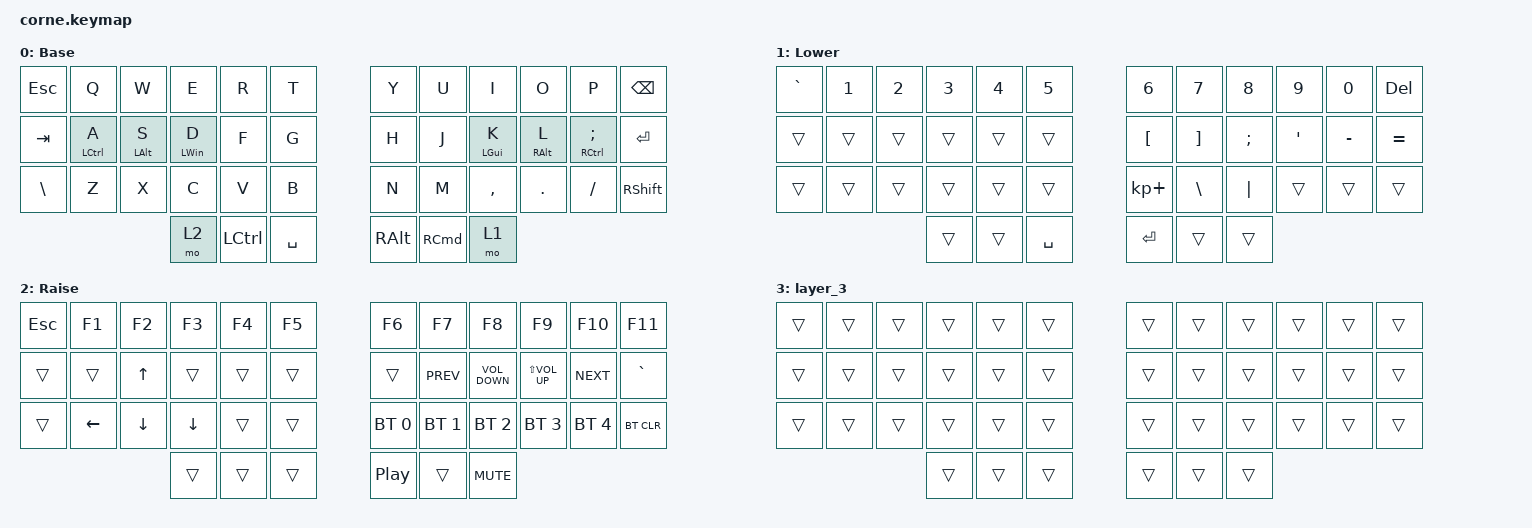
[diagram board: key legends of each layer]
/*
 * Copyright (c) 2020 The ZMK Contributors
 *
 * SPDX-License-Identifier: MIT
 */

#include <behaviors.dtsi>
#include <dt-bindings/zmk/bt.h>
#include <dt-bindings/zmk/keys.h>

/ {
    behaviors {
        HMR: HMR {
            compatible = "zmk,behavior-hold-tap";
            label = "HMR";
            bindings = <&kp>, <&kp>;

            #binding-cells = <2>;
            tapping-term-ms = <280>;
            quick-tap-ms = <175>;
            flavor = "tap-preferred";
            hold-trigger-key-positions = <0 1 2 3 4 5 12 13 14 15 16 17 24 25 26 27 28 29 36 37 38 39 40 41>;
            hold-trigger-on-release;
        };

        HML: HML {
            compatible = "zmk,behavior-hold-tap";
            label = "HML";
            bindings = <&kp>, <&kp>;

            #binding-cells = <2>;
            tapping-term-ms = <280>;
            quick-tap-ms = <175>;
            flavor = "tap-preferred";
            hold-trigger-on-release;
            hold-trigger-key-positions = <36 37 38 6 7 8 9 10 11 18 19 20 21 22 23 30 31 32 33 34 35 39 40 41>;
        };
    };

    keymap {
        compatible = "zmk,keymap";

        default_layer {
            // -----------------------------------------------------------------------------------------
            // |  TAB |  Q  |  W  |  E  |  R  |  T  |   |  Y  |  U   |  I  |  O  |  P  | BKSP |
            // | CTRL |  A  |  S  |  D  |  F  |  G  |   |  H  |  J   |  K  |  L  |  ;  |  '   |
            // | SHFT |  Z  |  X  |  C  |  V  |  B  |   |  N  |  M   |  ,  |  .  |  /  | ESC  |
            //                    | GUI | LWR | SPC |   | ENT | RSE  | ALT |

            display-name = "Base";
            bindings = <
&kp ESCAPE     &kp Q                &kp W            &kp E            &kp R             &kp T        &kp Y          &kp U              &kp I            &kp O             &kp P                         &kp BSPC
&kp TAB        &HML LEFT_CONTROL A  &HML LEFT_ALT S  &HML LEFT_WIN D  &kp F             &kp G        &kp H          &kp J              &HMR LEFT_GUI K  &HMR RIGHT_ALT L  &HMR RIGHT_CONTROL SEMICOLON  &kp RET
&kp BACKSLASH  &kp Z                &kp X            &kp C            &kp V             &kp B        &kp N          &kp M              &kp COMMA        &kp DOT           &kp FSLH                      &kp RIGHT_SHIFT
                                                     &mo 2            &kp LEFT_CONTROL  &kp SPACE    &kp RIGHT_ALT  &kp RIGHT_COMMAND  &mo 1
            >;
        };

        lower_layer {
            // -----------------------------------------------------------------------------------------
            // |  `  |  1  |  2  |  3  |  4  |  5  |   |  6  |  7  |  8  |  9  |  0  | DEL  |
            // |     |     |     |     |     |     |   |  [  |  ]  |  ;  |  '  |  -  |  =   |
            // |     |     |     |     |     |     |   |  +  |  \  |  |  |     |     |      |
            //                    | GUI |     | SPC |   | ENT |     | ALT |

            display-name = "Lower";
            bindings = <
&kp GRAVE  &kp N1  &kp N2  &kp N3  &kp N4  &kp N5       &kp N6       &kp N7    &kp N8    &kp N9   &kp N0     &kp DEL
&trans     &trans  &trans  &trans  &trans  &trans       &kp LBKT     &kp RBKT  &kp SEMI  &kp SQT  &kp MINUS  &kp EQUAL
&trans     &trans  &trans  &trans  &trans  &trans       &kp KP_PLUS  &kp BSLH  &kp PIPE  &trans   &trans     &trans
                           &trans  &trans  &kp SPACE    &kp ENTER    &trans    &trans
            >;
        };









        raise_layer {
            // -----------------------------------------------------------------------------------------
            // |  TAB |  !  |  @  |  #  |  $  |  %  |   |  ^  |  &  |  *  |  (  |  )  | BKSP |
            // | CTRL |     |     |     |     |     |   |  -  |  =  |  [  |  ]  |  \  |  `   |
            // | SHFT |     |     |     |     |     |   |  _  |  +  |  {  |  }  | "|" |  ~   |
            //                    | GUI |     | SPC |   | ENT |     | ALT |

            display-name = "Raise";
            bindings = <
&kp ESC  &kp F1    &kp F2        &kp F3    &kp F4  &kp F5    &kp F6            &kp F7        &kp F8             &kp F9            &kp F10       &kp F11
&trans   &trans    &kp UP_ARROW  &trans    &trans  &trans    &trans            &kp C_PREV    &kp K_VOLUME_DOWN  &kp LS(K_VOL_UP)  &kp C_NEXT    &kp GRAVE
&trans   &kp LEFT  &kp DOWN      &kp DOWN  &trans  &trans    &bt BT_SEL 0      &bt BT_SEL 1  &bt BT_SEL 2       &bt BT_SEL 3      &bt BT_SEL 4  &bt BT_CLR
                                 &trans    &trans  &trans    &kp C_PLAY_PAUSE  &trans        &kp C_MUTE
            >;
        };

        layer_3 {
            bindings = <
&trans  &trans  &trans  &trans  &trans  &trans    &trans  &trans  &trans  &trans  &trans  &trans
&trans  &trans  &trans  &trans  &trans  &trans    &trans  &trans  &trans  &trans  &trans  &trans
&trans  &trans  &trans  &trans  &trans  &trans    &trans  &trans  &trans  &trans  &trans  &trans
                        &trans  &trans  &trans    &trans  &trans  &trans
            >;
        };
    };
};
